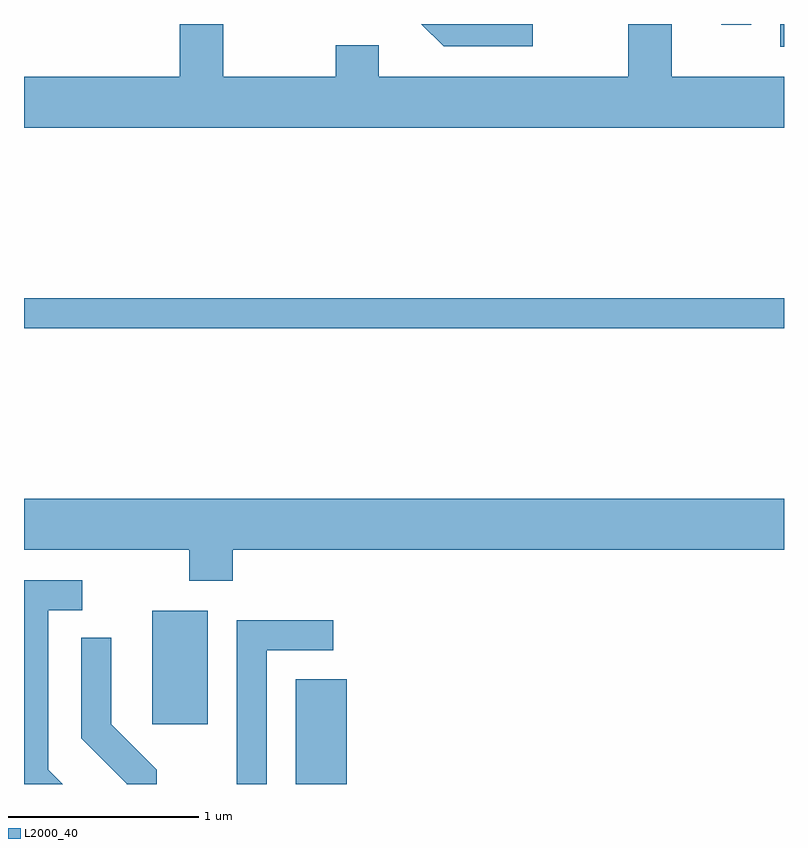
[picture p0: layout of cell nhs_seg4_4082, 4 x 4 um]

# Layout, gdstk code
import gdstk
lib = gdstk.Library(unit=1e-6, precision=1e-09)
def R(c, l, rs):  # rectangles x0, y0, x1, y1
    for r in rs: c.add(gdstk.rectangle(r[:2], r[2:], *l))
def P(c, l, *ps):  # polygons
    for p in ps: c.add(gdstk.Polygon(p, *l))
L2000_40 = (2000, 40)

nhs_seg4_4082 = lib.new_cell('nhs_seg4_4082')
R(nhs_seg4_4082, L2000_40, [(307.041,1257.982,307.309,1258.534), (306.286,1258.296,306.579,1258.894), (305.611,1260.381,309.611,1260.539), (309.591,1261.861,309.611,1261.982), (309.281,1261.978,309.439,1261.982)])
P(nhs_seg4_4082, L2000_40, [(309.611,1261.704),(309.019,1261.704),(309.019,1261.982),(308.791,1261.982),(308.791,1261.704),(307.479,1261.704),(307.479,1261.869),(307.251,1261.869),(307.251,1261.704),(306.659,1261.704),(306.659,1261.982),(306.431,1261.982),(306.431,1261.704),(305.611,1261.704),(305.611,1261.436),(309.611,1261.436)],
  [(308.288,1261.982),(307.703,1261.982),(307.819,1261.866),(308.288,1261.866)],
  [(306.709,1259.216),(309.611,1259.216),(309.611,1259.484),(305.611,1259.484),(305.611,1259.216),(306.481,1259.216),(306.481,1259.051),(306.709,1259.051)],
  [(305.739,1258.057),(305.739,1258.896),(305.918,1258.896),(305.918,1259.054),(305.611,1259.054),(305.611,1257.982),(305.814,1257.982)],
  [(306.889,1258.686),(307.238,1258.686),(307.238,1258.844),(306.731,1258.844),(306.731,1257.982),(306.889,1257.982)],
  [(306.309,1258.057),(306.069,1258.297),(306.069,1258.753),(305.911,1258.753),(305.911,1258.224),(306.151,1257.984),(306.151,1257.982),(306.309,1257.982)])

lib.write_gds('nhs_seg4_4082.gds')
